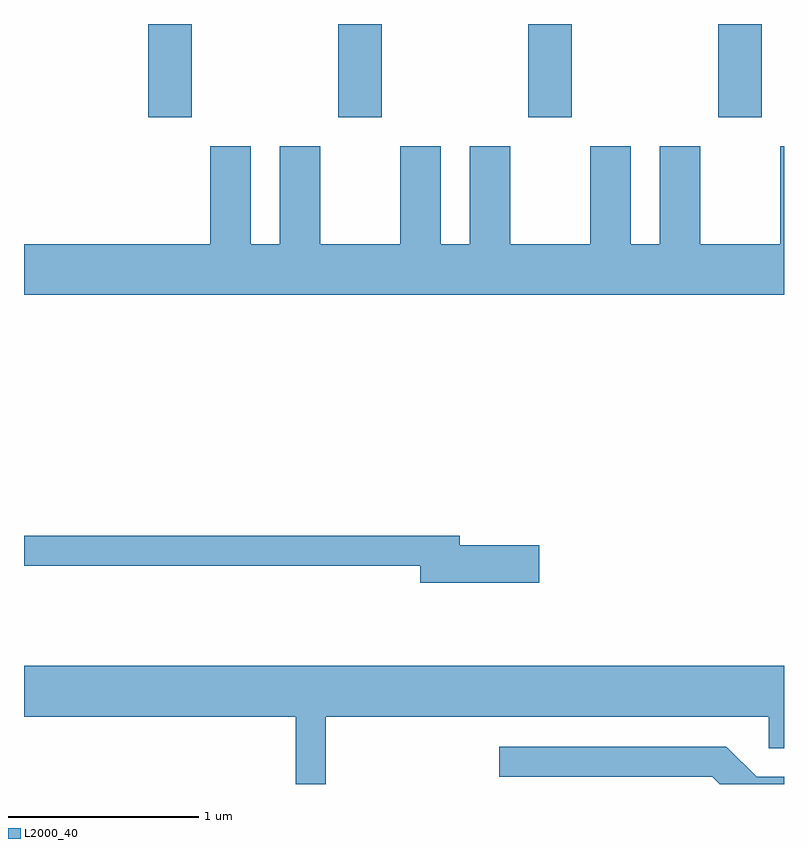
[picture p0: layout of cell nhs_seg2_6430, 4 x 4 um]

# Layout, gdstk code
import gdstk
lib = gdstk.Library(unit=1e-6, precision=1e-09)
def R(c, l, rs):  # rectangles x0, y0, x1, y1
    for r in rs: c.add(gdstk.rectangle(r[:2], r[2:], *l))
def A(c, l, x, y, w, h, nx, ny, dx, dy):  # array of equal rectangles
    R(c, l, [(x+i*dx, y+j*dy, x+i*dx+w, y+j*dy+h) for i in range(nx) for j in range(ny)])
def P(c, l, *ps):  # polygons
    for p in ps: c.add(gdstk.Polygon(p, *l))
L2000_40 = (2000, 40)

nhs_seg2_6430 = lib.new_cell('nhs_seg2_6430')
A(nhs_seg2_6430, L2000_40, 376.266, 989.311, 0.228, 0.491, 4, 1, 1, 0)
P(nhs_seg2_6430, L2000_40, [(379.611,989.159),(379.591,989.159),(379.591,988.644),(379.169,988.644),(379.169,989.159),(378.956,989.159),(378.956,988.644),(378.804,988.644),(378.804,989.159),(378.591,989.159),(378.591,988.644),(378.169,988.644),(378.169,989.159),(377.956,989.159),(377.956,988.644),(377.804,988.644),(377.804,989.159),(377.591,989.159),(377.591,988.644),(377.169,988.644),(377.169,989.159),(376.956,989.159),(376.956,988.644),(376.804,988.644),(376.804,989.159),(376.591,989.159),(376.591,988.644),(375.611,988.644),(375.611,988.376),(379.611,988.376)],
  [(378.324,987.059),(377.904,987.059),(377.904,987.109),(375.611,987.109),(375.611,986.951),(377.696,986.951),(377.696,986.861),(378.324,986.861)],
  [(377.199,986.156),(379.531,986.156),(379.531,985.991),(379.611,985.991),(379.611,986.424),(375.611,986.424),(375.611,986.156),(377.041,986.156),(377.041,985.802),(377.199,985.802)],
  [(379.611,985.839),(379.467,985.839),(379.307,985.999),(378.113,985.999),(378.113,985.841),(379.234,985.841),(379.273,985.802),(379.611,985.802)])

lib.write_gds('nhs_seg2_6430.gds')
